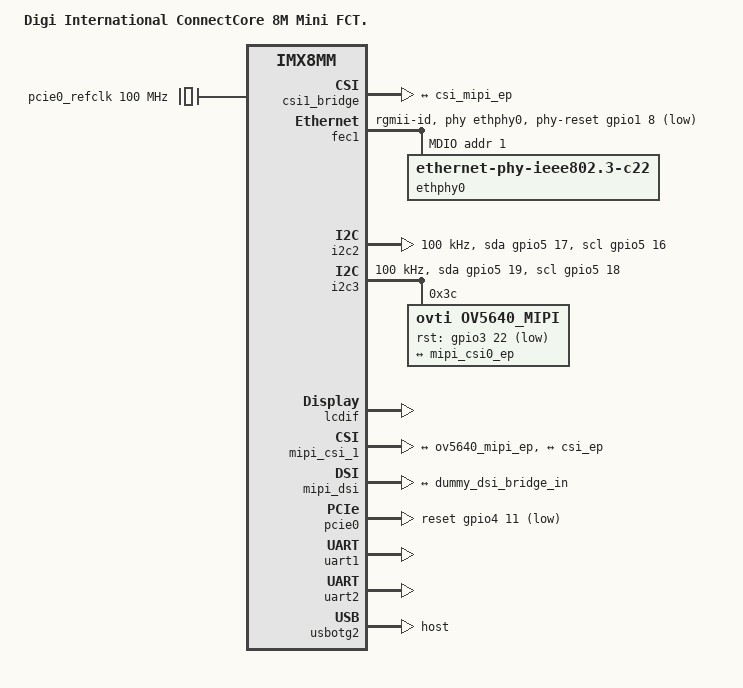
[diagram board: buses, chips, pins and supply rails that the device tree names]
/*
 * Copyright 2021, Digi International Inc.
 *
 * Permission to use, copy, modify, and/or distribute this software for any
 * purpose with or without fee is hereby granted, provided that the above
 * copyright notice and this permission notice appear in all copies.
 * THE SOFTWARE IS PROVIDED "AS IS" AND THE AUTHOR DISCLAIMS ALL WARRANTIES
 * WITH REGARD TO THIS SOFTWARE INCLUDING ALL IMPLIED WARRANTIES OF
 * MERCHANTABILITY AND FITNESS. IN NO EVENT SHALL THE AUTHOR BE LIABLE FOR
 * ANY SPECIAL, DIRECT, INDIRECT, OR CONSEQUENTIAL DAMAGES OR ANY DAMAGES
 * WHATSOEVER RESULTING FROM LOSS OF USE, DATA OR PROFITS, WHETHER IN AN
 * ACTION OF CONTRACT, NEGLIGENCE OR OTHER TORTIOUS ACTION, ARISING OUT OF
 * OR IN CONNECTION WITH THE USE OR PERFORMANCE OF THIS SOFTWARE.
 */

/dts-v1/;

/* i.MX8MM CPU */
#include "../freescale/imx8mm.dtsi"
/* Digi ConnectCore 8M Mini */
#include "ccimx8mm.dtsi"

/ {
	model = "Digi International ConnectCore 8M Mini FCT.";
	compatible = "digi,ccimx8mm-dvk", "digi,ccimx8mm", "digi,ccimx8m", "fsl,imx8mm";
	digi,machine,name = "ccimx8mm-dvk";

	chosen {
		bootargs = "console=ttymxc0,115200 earlycon=ec_imx6q,0x30860000,115200";
		stdout-path = &uart1;
	};

	pcie0_refclk: pcie0-refclk {
		compatible = "fixed-clock";
		#clock-cells = <0>;
		clock-frequency = <100000000>;
	};

	/* DUMMY MIPI DSI BRIDGE */
	dummy_dsi_bridge {
		compatible = "digi,dummy_dsi_bridge";
		dsi-lanes = <4>;
		video-mode = <1>;
		status = "okay";

		display-timings {
			native-mode = <&mipi_analyzer>;

			/* MIPI Analyzer */
			mipi_analyzer: timing@0 {
				clock-frequency = <31500000>;
				hactive = <640>;
				vactive = <480>;
				hback-porch = <4>;
				hfront-porch = <10>;
				vback-porch = <34>;
				vfront-porch = <20>;
				hsync-len = <2>;
				vsync-len = <2>;
				hsync-active = <0>;
				vsync-active = <0>;
				de-active = <0>;
				pixelclk-active = <0>;
			};
		};
		port {
			dummy_dsi_bridge_in: endpoint {
				remote-endpoint = <&mipi_dsi_out>;
			};
		};
	};

	regulators {
		compatible = "simple-bus";
		#address-cells = <1>;
		#size-cells = <0>;
	};
};

&csi1_bridge {
	fsl,mipi-mode;
	status = "okay";
	port {
		csi_ep: endpoint {
			remote-endpoint = <&csi_mipi_ep>;
		};
	};
};

&fec1 {
	pinctrl-names = "default";
	pinctrl-0 = <&pinctrl_fec1_gpio>,
		    <&pinctrl_fec1>;
	phy-mode = "rgmii-id";
	phy-handle = <&ethphy0>;
	phy-reset-gpios = <&gpio1 8 GPIO_ACTIVE_LOW>;
	phy-reset-duration = <1>;
	fsl,magic-packet;
	status = "okay";

	mdio {
		#address-cells = <1>;
		#size-cells = <0>;

		ethphy0: ethernet-phy@0 {
			compatible = "ethernet-phy-ieee802.3-c22";
			reg = <1>;
			at803x,eee-disabled;
			at803x,vddio-1p8v;
		};
	};
};

/*
 * I2C2 connected to I2C Temperature Sensor.
 * Also available on:
 * - Parallel Camera connector
 */
&i2c2 {
	#address-cells = <1>;
	#size-cells = <0>;
	clock-frequency = <100000>;
	pinctrl-names = "default", "gpio";
	pinctrl-0 = <&pinctrl_i2c2>;
	pinctrl-1 = <&pinctrl_i2c2_gpio>;
	scl-gpios = <&gpio5 16 GPIO_ACTIVE_HIGH>;
	sda-gpios = <&gpio5 17 GPIO_ACTIVE_HIGH>;
	status = "okay";
};


/* I2C3 connected to MIPI Camera connector */
&i2c3 {
	clock-frequency = <100000>;
	pinctrl-names = "default", "gpio";
	pinctrl-0 = <&pinctrl_i2c3>;
	pinctrl-1 = <&pinctrl_i2c3_gpio>;
	scl-gpios = <&gpio5 18 GPIO_ACTIVE_HIGH>;
	sda-gpios = <&gpio5 19 GPIO_ACTIVE_HIGH>;
	status = "okay";

	/* MIPI-CSI camera */
	ov5640_mipi: ov5640_mipi@3c {
		compatible = "ovti,ov5640_mipi";
		reg = <0x3c>;
		pinctrl-names = "default";
		pinctrl-0 = <&pinctrl_mipi>;
		clocks = <&clk IMX8MM_CLK_CLKO1>;
		clock-names = "csi_mclk";
		assigned-clocks = <&clk IMX8MM_CLK_CLKO1>;
		assigned-clock-parents = <&clk IMX8MM_CLK_24M>;
		assigned-clock-rates = <24000000>;
		csi_id = <0>;
		rst-gpios = <&gpio3 22 GPIO_ACTIVE_LOW>;
		mclk = <24000000>;
		mclk_source = <0>;
		port {
			ov5640_mipi_ep: endpoint {
				remote-endpoint = <&mipi_csi0_ep>;
			};
		};
	};
};

&lcdif {
	status = "okay";
};

&mipi_csi_1 {
	#address-cells = <1>;
	#size-cells = <0>;
	status = "okay";

	/* Camera 0  MIPI CSI-2 (CSIS0) */
	port@0 {
		reg = <0>;
		mipi_csi0_ep: endpoint {
			remote-endpoint = <&ov5640_mipi_ep>;
			data-lanes = <2>;
			csis-hs-settle = <13>;
			csis-clk-settle = <2>;
			csis-wclk;
		};

		csi_mipi_ep: endpoint@2 {
			remote-endpoint = <&csi_ep>;
		};
	};
};

&mipi_dsi {
	status = "okay";

	port@1 {
		mipi_dsi_out: endpoint {
			remote-endpoint = <&dummy_dsi_bridge_in>;
			attach-bridge;
		};
	};
};

&pcie0{
	pinctrl-names = "default";
	pinctrl-0 = <&pinctrl_pcie0>;
	/*disable-gpio = <&gpio3 20 GPIO_ACTIVE_LOW>;*/
	reset-gpio = <&gpio4 11 GPIO_ACTIVE_LOW>;
	wake-gpio = <&gpio4 0 GPIO_ACTIVE_LOW>;
	clocks = <&clk IMX8MM_CLK_PCIE1_ROOT>,
		 <&clk IMX8MM_CLK_PCIE1_AUX>,
		 <&clk IMX8MM_CLK_PCIE1_PHY>,
		 <&pcie0_refclk>;
	clock-names = "pcie", "pcie_aux", "pcie_phy", "pcie_bus";
	ext_osc = <1>;
	status = "okay";
};

/* Console */
&uart1 {
	pinctrl-names = "default", "sleep";
	pinctrl-0 = <&pinctrl_uart1>;
	pinctrl-1 = <&pinctrl_uart1_sleep>;
	status = "okay";
};

/* UART2 (Bluetooth/Loopback) */
&uart2 {
	status = "okay";
};

/* USB_OTG2 connected to usb host connector */
&usbotg2 {
	dr_mode = "host";
	disable-over-current;
	status = "okay";
};

/* IOMUX */
&iomuxc {
	pinctrl-names = "default";
	pinctrl-0 = <&pinctrl_hog_common>, <&pinctrl_hog_non_wb>;

	pinctrl_hog_common: hoggrpcommon {
		fsl,pins = <
			/* COMMON PAIRS */
			MX8MM_IOMUXC_SAI2_MCLK_GPIO4_IO27	0x140
			MX8MM_IOMUXC_UART2_RXD_GPIO5_IO24	0x140
			MX8MM_IOMUXC_GPIO1_IO14_GPIO1_IO14	0x140
			MX8MM_IOMUXC_UART2_TXD_GPIO5_IO25	0x140
			MX8MM_IOMUXC_GPIO1_IO12_GPIO1_IO12	0x140
			MX8MM_IOMUXC_SAI2_TXFS_GPIO4_IO24	0x140
			MX8MM_IOMUXC_GPIO1_IO13_GPIO1_IO13	0x140
			MX8MM_IOMUXC_SAI5_MCLK_GPIO3_IO25	0x140
			MX8MM_IOMUXC_GPIO1_IO15_GPIO1_IO15	0x140
			MX8MM_IOMUXC_ECSPI2_SCLK_GPIO5_IO10	0x140
			MX8MM_IOMUXC_SAI5_RXD2_GPIO3_IO23	0x140
			MX8MM_IOMUXC_UART1_TXD_GPIO5_IO23	0x140
			MX8MM_IOMUXC_SD2_RESET_B_GPIO2_IO19	0x140
			MX8MM_IOMUXC_SAI5_RXD0_GPIO3_IO21	0x140
			MX8MM_IOMUXC_SAI5_RXD3_GPIO3_IO24	0x140
			MX8MM_IOMUXC_ECSPI2_MOSI_GPIO5_IO11	0x140
			MX8MM_IOMUXC_SAI3_RXFS_GPIO4_IO28	0x140
			MX8MM_IOMUXC_ECSPI2_SS0_GPIO5_IO13	0x140
			MX8MM_IOMUXC_SD2_CMD_GPIO2_IO14		0x140
			MX8MM_IOMUXC_UART1_RXD_GPIO5_IO22	0x140
			MX8MM_IOMUXC_SD2_WP_GPIO2_IO20		0x140
			MX8MM_IOMUXC_ECSPI2_MISO_GPIO5_IO12	0x140
			MX8MM_IOMUXC_SAI3_TXD_GPIO5_IO1		0x140
			MX8MM_IOMUXC_GPIO1_IO06_GPIO1_IO6	0x140
			MX8MM_IOMUXC_SD2_DATA0_GPIO2_IO15	0x140
			MX8MM_IOMUXC_SAI2_TXD0_GPIO4_IO26	0x140
			MX8MM_IOMUXC_SD2_CD_B_GPIO2_IO12	0x140
			MX8MM_IOMUXC_SAI2_RXD0_GPIO4_IO23	0x140
			MX8MM_IOMUXC_SAI3_MCLK_GPIO5_IO2	0x140
			MX8MM_IOMUXC_SAI2_TXC_GPIO4_IO25	0x140
			MX8MM_IOMUXC_SD2_DATA1_GPIO2_IO16	0x140
			MX8MM_IOMUXC_SAI5_RXFS_GPIO3_IO19	0x140
			MX8MM_IOMUXC_SD2_DATA2_GPIO2_IO17	0x140
			MX8MM_IOMUXC_SAI5_RXC_GPIO3_IO20	0x140
			MX8MM_IOMUXC_SD2_DATA3_GPIO2_IO18	0x140
			MX8MM_IOMUXC_UART4_RXD_GPIO5_IO28	0x140
			MX8MM_IOMUXC_SD2_CLK_GPIO2_IO13		0x140
			MX8MM_IOMUXC_UART4_TXD_GPIO5_IO29	0x140
			MX8MM_IOMUXC_ECSPI1_SS0_GPIO5_IO9	0x140
			MX8MM_IOMUXC_ECSPI1_MISO_GPIO5_IO8	0x140
			MX8MM_IOMUXC_ECSPI1_SCLK_GPIO5_IO6	0x140
			MX8MM_IOMUXC_GPIO1_IO07_GPIO1_IO7	0x140
			MX8MM_IOMUXC_SPDIF_RX_GPIO5_IO4		0x140
			MX8MM_IOMUXC_GPIO1_IO09_GPIO1_IO9	0x140
			MX8MM_IOMUXC_SPDIF_EXT_CLK_GPIO5_IO5	0x140
			MX8MM_IOMUXC_GPIO1_IO11_GPIO1_IO11	0x140
			MX8MM_IOMUXC_SPDIF_TX_GPIO5_IO3		0x140
			MX8MM_IOMUXC_GPIO1_IO03_GPIO1_IO3	0x140
			MX8MM_IOMUXC_GPIO1_IO01_GPIO1_IO1	0x140
			MX8MM_IOMUXC_GPIO1_IO10_GPIO1_IO10	0x140
			MX8MM_IOMUXC_ECSPI1_MOSI_GPIO5_IO7	0x100
			MX8MM_IOMUXC_GPIO1_IO04_GPIO1_IO4	0x140
			MX8MM_IOMUXC_NAND_DATA00_GPIO3_IO6	0x140
			MX8MM_IOMUXC_NAND_ALE_GPIO3_IO0		0x140
			MX8MM_IOMUXC_NAND_DATA01_GPIO3_IO7	0x140
			MX8MM_IOMUXC_NAND_CE0_B_GPIO3_IO1	0x140
			MX8MM_IOMUXC_NAND_DQS_GPIO3_IO14	0x140
			MX8MM_IOMUXC_UART3_RXD_GPIO5_IO26	0x140
			MX8MM_IOMUXC_UART3_TXD_GPIO5_IO27	0x140
			MX8MM_IOMUXC_NAND_DATA03_GPIO3_IO9	0x140
			MX8MM_IOMUXC_NAND_DATA02_GPIO3_IO8	0x140
			MX8MM_IOMUXC_I2C4_SCL_GPIO5_IO20	0x140
			MX8MM_IOMUXC_I2C4_SDA_GPIO5_IO21	0x140
			/* CC8MM PAIRS */
			MX8MM_IOMUXC_SAI1_MCLK_GPIO4_IO20	0x140
			MX8MM_IOMUXC_SAI1_TXFS_GPIO4_IO10	0x140
		>;
	};

	pinctrl_hog_non_wb: hoggrpnonwb {
		fsl,pins = <
			/* COMMON NON-WIRELESS PAIRS */
			MX8MM_IOMUXC_SD1_DATA7_GPIO2_IO9	0x140
			MX8MM_IOMUXC_SD1_DATA6_GPIO2_IO8	0x140
			/* CC8MM NON-WIRELESS PAIRS */
			MX8MM_IOMUXC_SD1_CLK_GPIO2_IO0		0x140
			MX8MM_IOMUXC_SD1_DATA2_GPIO2_IO4	0x140
			MX8MM_IOMUXC_SD1_CMD_GPIO2_IO1		0x140
			MX8MM_IOMUXC_SD1_DATA3_GPIO2_IO5	0x140
			MX8MM_IOMUXC_SD1_DATA0_GPIO2_IO2	0x140
			MX8MM_IOMUXC_SD1_DATA4_GPIO2_IO6	0x140
			MX8MM_IOMUXC_SD1_DATA1_GPIO2_IO3	0x140
			MX8MM_IOMUXC_SD1_DATA5_GPIO2_IO7	0x140
		>;
	};

	pinctrl_fec1_gpio: fec1gpiogrp {
		fsl,pins = <
			/* PHY reset */
			MX8MM_IOMUXC_GPIO1_IO08_GPIO1_IO8	0x19
			/* PHY interrupt */
			MX8MM_IOMUXC_GPIO1_IO00_GPIO1_IO0	0x19
		>;
	};

	pinctrl_fec1: fec1grp {
		fsl,pins = <
			MX8MM_IOMUXC_ENET_MDC_ENET1_MDC		0x3
			MX8MM_IOMUXC_ENET_MDIO_ENET1_MDIO	0x3
			MX8MM_IOMUXC_ENET_TD3_ENET1_RGMII_TD3	0x1f
			MX8MM_IOMUXC_ENET_TD2_ENET1_RGMII_TD2	0x1f
			MX8MM_IOMUXC_ENET_TD1_ENET1_RGMII_TD1	0x1f
			MX8MM_IOMUXC_ENET_TD0_ENET1_RGMII_TD0	0x1f
			MX8MM_IOMUXC_ENET_RD3_ENET1_RGMII_RD3	0x91
			MX8MM_IOMUXC_ENET_RD2_ENET1_RGMII_RD2	0x91
			MX8MM_IOMUXC_ENET_RD1_ENET1_RGMII_RD1	0x91
			MX8MM_IOMUXC_ENET_RD0_ENET1_RGMII_RD0	0x91
			MX8MM_IOMUXC_ENET_TXC_ENET1_RGMII_TXC	0x1f
			MX8MM_IOMUXC_ENET_RXC_ENET1_RGMII_RXC	0x91
			MX8MM_IOMUXC_ENET_RX_CTL_ENET1_RGMII_RX_CTL	0x91
			MX8MM_IOMUXC_ENET_TX_CTL_ENET1_RGMII_TX_CTL	0x1f
		>;
	};

	pinctrl_i2c2: i2c2grp {
		fsl,pins = <
			MX8MM_IOMUXC_I2C2_SCL_I2C2_SCL			0x400001c3
			MX8MM_IOMUXC_I2C2_SDA_I2C2_SDA			0x400001c3
		>;
	};

	pinctrl_i2c2_gpio: i2c2grp-gpio {
		fsl,pins = <
			MX8MM_IOMUXC_I2C2_SCL_GPIO5_IO16		0x1c3
			MX8MM_IOMUXC_I2C2_SDA_GPIO5_IO17		0x1c3
		>;
	};

	pinctrl_i2c3: i2c3grp {
		fsl,pins = <
			MX8MM_IOMUXC_I2C3_SCL_I2C3_SCL			0x400001c3
			MX8MM_IOMUXC_I2C3_SDA_I2C3_SDA			0x400001c3
		>;
	};

	pinctrl_i2c3_gpio: i2c3grp-gpio {
		fsl,pins = <
			MX8MM_IOMUXC_I2C3_SCL_GPIO5_IO18		0x1c3
			MX8MM_IOMUXC_I2C3_SDA_GPIO5_IO19		0x1c3
		>;
	};

	pinctrl_mipi: mipi {
		fsl,pins = <
			/* MIPI_CSI0_RESET_N */
			MX8MM_IOMUXC_SAI5_RXD1_GPIO3_IO22 	0x19
		>;
	};

	pinctrl_pcie0: pcie0grp {
		fsl,pins = <
			/* Disable GPIO */
			/*MX8MM_IOMUXC_SAI5_RXC_GPIO3_IO20	0x41*/
			/* Reset GPIO */
			MX8MM_IOMUXC_SAI1_TXC_GPIO4_IO11	0x41
			/* Wake GPIO */
			MX8MM_IOMUXC_SAI1_RXFS_GPIO4_IO0	0x41
		>;
	};

	pinctrl_uart1: uart1grp {
		fsl,pins = <
			MX8MM_IOMUXC_SAI2_RXC_UART1_DCE_RX	0x140
			MX8MM_IOMUXC_SAI2_RXFS_UART1_DCE_TX	0x140
		>;
	};

	pinctrl_uart1_sleep: uart1sleepgrp {
		fsl,pins = <
			MX8MM_IOMUXC_SAI2_RXC_GPIO4_IO22	0x100
			MX8MM_IOMUXC_SAI2_RXFS_GPIO4_IO21	0x100
		>;
	};
};
